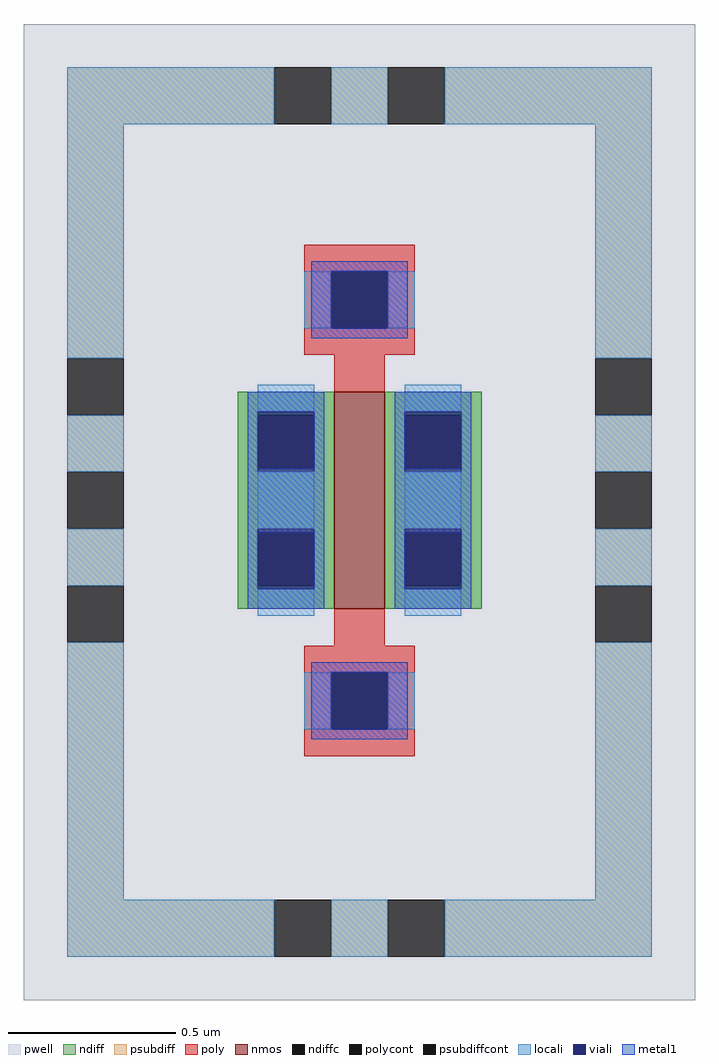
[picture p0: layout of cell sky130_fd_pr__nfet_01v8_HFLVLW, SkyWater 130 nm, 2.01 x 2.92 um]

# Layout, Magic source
magic
tech sky130A
magscale 1 2
<< pwell >>
rect -201 -299 201 285
<< nmos >>
rect -15 -65 15 65
<< ndiff >>
rect -73 51 -15 65
rect -73 17 -61 51
rect -27 17 -15 51
rect -73 -17 -15 17
rect -73 -51 -61 -17
rect -27 -51 -15 -17
rect -73 -65 -15 -51
rect 15 51 73 65
rect 15 17 27 51
rect 61 17 73 51
rect 15 -17 73 17
rect 15 -51 27 -17
rect 61 -51 73 -17
rect 15 -65 73 -51
<< ndiffc >>
rect -61 17 -27 51
rect -61 -51 -27 -17
rect 27 17 61 51
rect 27 -51 61 -17
<< psubdiff >>
rect -175 225 -51 259
rect -17 225 17 259
rect 51 225 175 259
rect -175 85 -141 225
rect 141 85 175 225
rect -175 17 -141 51
rect -175 -51 -141 -17
rect 141 17 175 51
rect 141 -51 175 -17
rect -175 -239 -141 -85
rect 141 -239 175 -85
rect -175 -273 -51 -239
rect -17 -273 17 -239
rect 51 -273 175 -239
<< psubdiffcont >>
rect -51 225 -17 259
rect 17 225 51 259
rect -175 51 -141 85
rect -175 -17 -141 17
rect -175 -85 -141 -51
rect 141 51 175 85
rect 141 -17 175 17
rect 141 -85 175 -51
rect -51 -273 -17 -239
rect 17 -273 51 -239
<< poly >>
rect -33 137 33 153
rect -33 103 -17 137
rect 17 103 33 137
rect -33 87 33 103
rect -15 65 15 87
rect -15 -87 15 -65
rect -33 -103 33 -87
rect -33 -137 -17 -103
rect 17 -137 33 -103
rect -33 -153 33 -137
<< polycont >>
rect -17 103 17 137
rect -17 -137 17 -103
<< locali >>
rect -175 225 -51 259
rect -17 225 17 259
rect 51 225 175 259
rect -175 85 -141 225
rect -33 103 -17 137
rect 17 103 33 137
rect 141 85 175 225
rect -175 17 -141 51
rect -175 -51 -141 -17
rect -61 53 -27 69
rect -61 -17 -27 17
rect -61 -69 -27 -53
rect 27 53 61 69
rect 27 -17 61 17
rect 27 -69 61 -53
rect 141 17 175 51
rect 141 -51 175 -17
rect -175 -239 -141 -85
rect -33 -137 -17 -103
rect 17 -137 33 -103
rect 141 -239 175 -85
rect -175 -273 -51 -239
rect -17 -273 17 -239
rect 51 -273 175 -239
<< viali >>
rect -17 103 17 137
rect -61 51 -27 53
rect -61 19 -27 51
rect -61 -51 -27 -19
rect -61 -53 -27 -51
rect 27 51 61 53
rect 27 19 61 51
rect 27 -51 61 -19
rect 27 -53 61 -51
rect -17 -137 17 -103
<< metal1 >>
rect -29 137 29 143
rect -29 103 -17 137
rect 17 103 29 137
rect -29 97 29 103
rect -67 53 -21 65
rect -67 19 -61 53
rect -27 19 -21 53
rect -67 -19 -21 19
rect -67 -53 -61 -19
rect -27 -53 -21 -19
rect -67 -65 -21 -53
rect 21 53 67 65
rect 21 19 27 53
rect 61 19 67 53
rect 21 -19 67 19
rect 21 -53 27 -19
rect 61 -53 67 -19
rect 21 -65 67 -53
rect -29 -103 29 -97
rect -29 -137 -17 -103
rect 17 -137 29 -103
rect -29 -143 29 -137
<< properties >>
string FIXED_BBOX -158 -222 158 222
<< end >>
